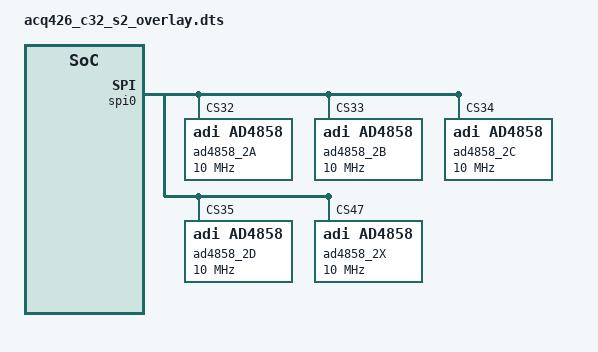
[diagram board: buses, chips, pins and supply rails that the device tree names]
// SPDX-License-Identifier: GPL-2.0
/dts-v1/;
/plugin/;	/* allow undefined label references and record them */

/ {
	fragment@0 {
		target = <&spi0>;
		__overlay__ {
			#address-cells = <1>;
			#size-cells = <0>;			
			status = "okay";

			ad4858_2A: adc@20{		
/*                
                refin-supply = <&refin>;
                clocks = <&ref_clk>;
                clock-names = "scki";
                dmas = <&rx_dma 0>;
                dma-names = "rx";
                pwms = <&axi_pwm_gen 0 0>;
                pwm-names = "cnv";
*/
				reg = <0x20>;
				spi-max-frequency = <10000000>;
				compatible = "adi,ad4858";
			};
			ad4858_2B: adc@21{
				reg = <0x21>;

				spi-max-frequency = <10000000>;
				compatible = "adi,ad4858";
			};
			ad4858_2C: adc@22{
				reg = <0x22>;

				spi-max-frequency = <10000000>;
				compatible = "adi,ad4858";
			};
			ad4858_2D: adc@23{
				reg = <0x23>;

				spi-max-frequency = <10000000>;
				compatible = "adi,ad4858";
			};			
			ad4858_2X: adc@2f{
				reg = <0x2F>;

				spi-max-frequency = <10000000>;
				compatible = "adi,ad4858";
			};
		};
	};
};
